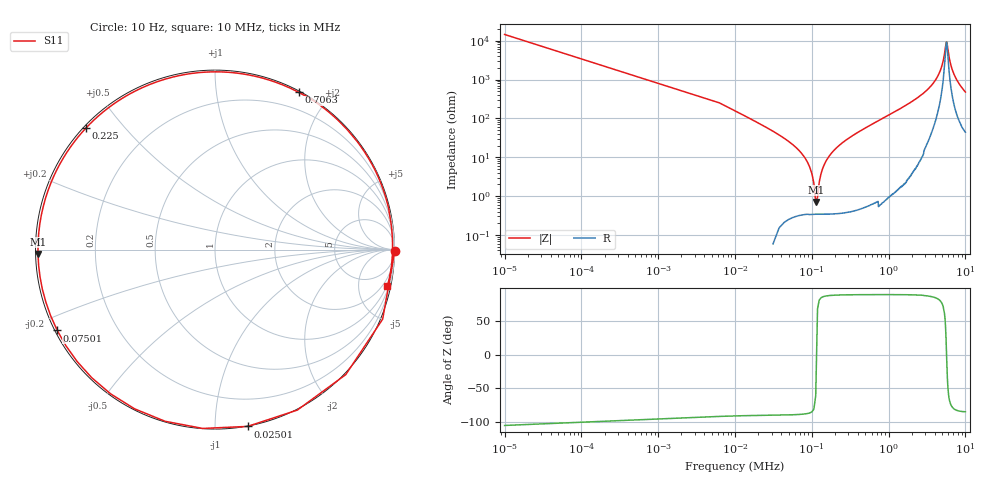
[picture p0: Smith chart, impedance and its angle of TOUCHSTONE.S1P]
!Keysight Technologies,E5061B,MY49912438,B.06.30
!Date: Thu Nov 06 22:20:38 2025
!Data & Calibration Information:
!Freq	S11:SOLT1(ON)
# Hz S dB R 50
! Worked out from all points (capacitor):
!   1601 points, 10 Hz to 10 MHz, reference 50 ohm
!   read as one part to ground: C = 101 nF near 50.01 kHz
!   lowest |Z| = 703 mohm at 112.5 kHz (marker M1)
!   series resonance near 115.1 kHz, so ESL is about 19 uH
!   S11 on the Smith chart (normalised r, x): 10 Hz: open; 25.01 kHz: -0.00, -1.20; 75.01 kHz: 0.01, -0.24; 225 kHz: 0.01, +0.40; 706.3 kHz: 0.01, +1.67; 10 MHz: 0.88, -9.49
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10  0.02 -0.4
25009.97  0.01 -79.6
56259.94  -0.08 -133.9
62509.94  -0.09 -140.9
75009.93  -0.11 -152.9
93759.91  -0.12 -167.1
112509.9  -0.12 -178.6
137509.9  -0.12 168.8
162509.8  -0.12 158.1
193759.8  -0.11 146.7
225009.8  -0.11 136.7
262509.7  -0.10 126.2
306259.7  -0.10 115.6
400009.6  -0.09 97.3
468759.5  -0.08 86.7
543759.5  -0.08 77.2
706259.3  -0.06 61.9
812509.2  -0.05 54.6
937509.1  -0.05 47.7
1250009  -0.04 35.8
1787508  -0.04 24.1
2500008  -0.05 15.6
3750006  -0.08 7.4
5000005  -0.09 2.3
6250004  -0.10 -1.7
7500002  -0.11 -5.2
8750001  -0.13 -8.5
1e7  -0.17 -11.9
